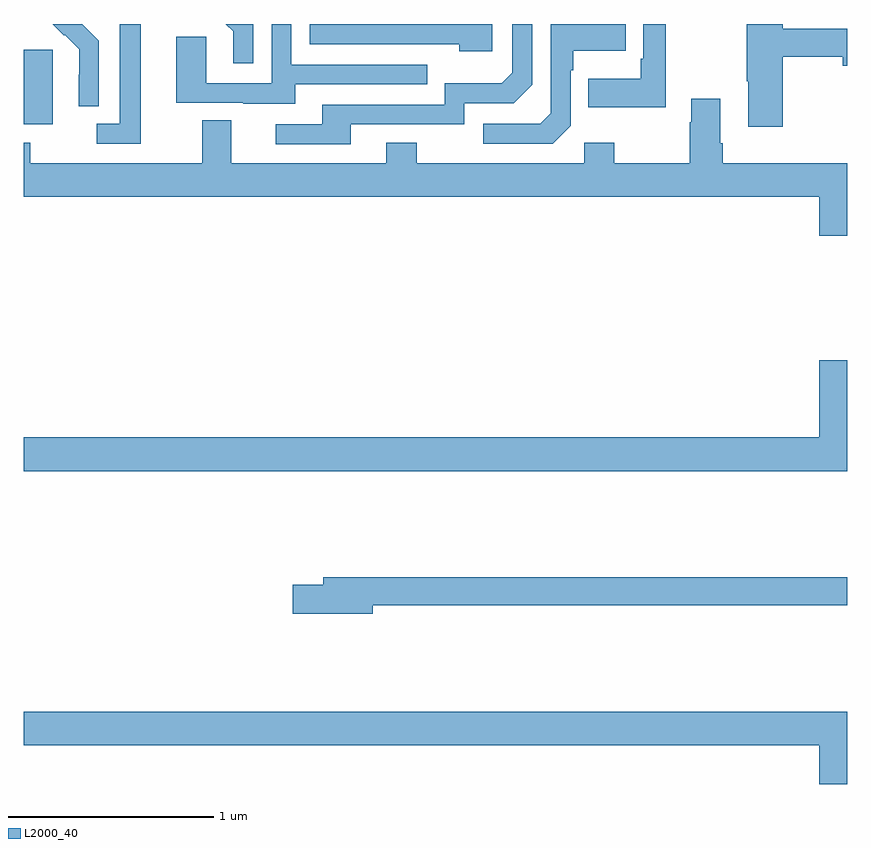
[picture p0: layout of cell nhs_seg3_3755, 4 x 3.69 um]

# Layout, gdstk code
import gdstk
lib = gdstk.Library(unit=1e-6, precision=1e-09)
def R(c, l, rs):  # rectangles x0, y0, x1, y1
    for r in rs: c.add(gdstk.rectangle(r[:2], r[2:], *l))
def P(c, l, *ps):  # polygons
    for p in ps: c.add(gdstk.Polygon(p, *l))
L2000_40 = (2000, 40)

nhs_seg3_3755 = lib.new_cell('nhs_seg3_3755')
R(nhs_seg3_3755, L2000_40, [(305,723.914,305.14,724.275)])
P(nhs_seg3_3755, L2000_40, [(308.119,724.4),(308.01,724.4),(308.01,724.231),(307.998,724.231),(307.998,724.135),(307.741,724.135),(307.741,723.995),(308.119,723.995)],
  [(308.687,724.24),(308.978,724.24),(308.978,724.198),(309,724.198),(309,724.376),(308.687,724.376),(308.687,724.4),(308.512,724.4),(308.512,724.123),(308.519,724.123),(308.519,723.9),(308.687,723.9)],
  [(305.569,724.4),(305.465,724.4),(305.465,723.915),(305.355,723.915),(305.355,723.819),(305.569,723.819)],
  [(306.114,724.4),(305.982,724.4),(306.017,724.365),(306.017,724.209),(306.114,724.209)],
  [(305.364,724.318),(305.291,724.391),(305.292,724.392),(305.284,724.4),(305.14,724.4),(305.196,724.344),(305.199,724.347),(305.27,724.277),(305.27,724.154),(305.268,724.154),(305.268,724),(305.364,724)],
  [(307.276,724.398),(306.499,724.398),(306.499,724.4),(306.39,724.4),(306.39,724.302),(307.115,724.302),(307.115,724.268),(307.276,724.268)],
  [(307.656,723.906),(307.656,724.175),(307.669,724.175),(307.669,724.271),(307.925,724.271),(307.925,724.4),(307.56,724.4),(307.56,723.966),(307.509,723.915),(307.233,723.915),(307.233,723.819),(307.569,723.819)],
  [(306.319,724.107),(306.959,724.107),(306.959,724.203),(306.3,724.203),(306.3,724.4),(306.204,724.4),(306.204,724.113),(305.886,724.113),(305.886,724.337),(305.741,724.337),(305.741,724.017),(306.065,724.017),(306.065,724.013),(306.319,724.013)],
  [(306.589,723.912),(307.14,723.912),(307.14,724.014),(307.38,724.014),(307.47,724.104),(307.47,724.4),(307.374,724.4),(307.374,724.164),(307.321,724.111),(307.044,724.111),(307.044,724.008),(306.449,724.008),(306.449,723.912),(306.225,723.912),(306.225,723.816),(306.589,723.816)],
  [(309,723.724),(308.396,723.724),(308.396,723.82),(308.383,723.82),(308.383,724.036),(308.243,724.036),(308.243,723.923),(308.236,723.923),(308.236,723.724),(307.869,723.724),(307.869,723.823),(307.722,723.823),(307.722,723.724),(306.909,723.724),(306.909,723.823),(306.761,723.823),(306.761,723.724),(306.007,723.724),(306.007,723.932),(305.867,723.932),(305.867,723.724),(305.031,723.724),(305.031,723.823),(305,723.823),(305,723.56),(308.864,723.56),(308.864,723.372),(309,723.372)],
  [(309,722.767),(308.864,722.767),(308.864,722.392),(305,722.392),(305,722.228),(309,722.228)],
  [(306.694,721.576),(309,721.576),(309,721.712),(306.455,721.712),(306.455,721.676),(306.306,721.676),(306.306,721.534),(306.694,721.534)],
  [(309,721.06),(305,721.06),(305,720.896),(308.864,720.896),(308.864,720.708),(309,720.708)])

lib.write_gds('nhs_seg3_3755.gds')
